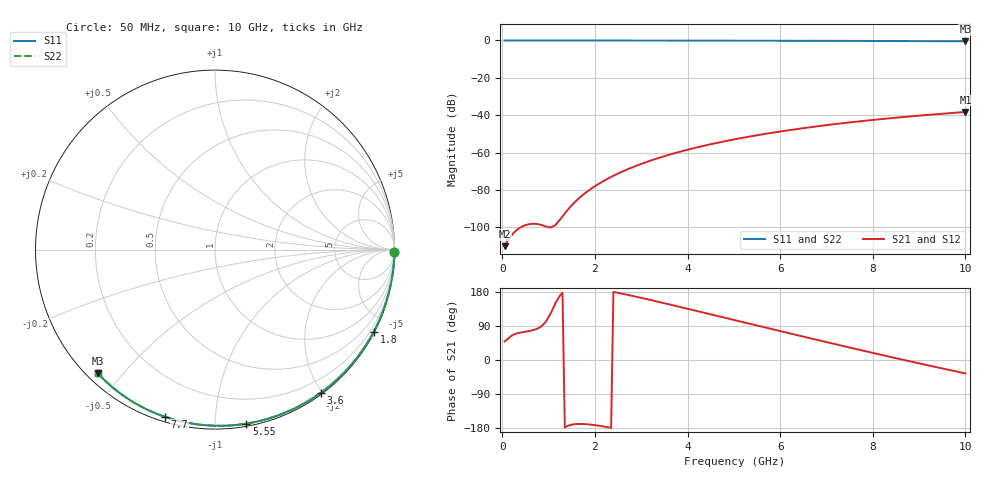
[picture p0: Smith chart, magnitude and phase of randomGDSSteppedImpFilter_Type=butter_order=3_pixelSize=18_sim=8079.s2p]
! freq	dB(S11)	phase(S11)	dB(S12)	phase(S12)
!  dB(S21)	phase(S21)	dB(S22)	phase(S22)
!S-par simulation data
#  GHz  S  DB  R 50
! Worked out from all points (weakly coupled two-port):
!   200 points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, 50 MHz to 10 GHz, reference 50 ohm
!   highest |S21| = -38.31 dB at 10 GHz (marker M1); lowest = -110.2 dB at 50 MHz (marker M2)
!   lowest |S11| = -0.4 dB at 10 GHz (marker M3), VSWR 38.70, Z = 1.53 - j21.5 ohm
!   |S11| at or under -10 dB: nowhere
!   |S22| runs from -0.4 to 0.0 dB; largest |S21 - S12| = 0
!   S11 on the Smith chart (normalised r, x): 50 MHz: open; 1.8 GHz: 0.04, -4.11; 3.6 GHz: 0.02, -1.99; 5.55 GHz: 0.02, -1.20; 7.7 GHz: 0.02, -0.75; 10 GHz: 0.03, -0.43
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0.05  -0.00 -0.8  -110.16 49.2  -110.16 49.2  -0.00 -0.8
0.9  -0.02 -13.8  -99.29 95.6  -99.29 95.6  -0.02 -13.8
1.75  -0.03 -26.6  -82.51 -168.9  -82.51 -168.9  -0.03 -26.6
1.8  -0.03 -27.3  -81.53 -169.3  -81.53 -169.3  -0.03 -27.3
1.85  -0.04 -28.1  -80.60 -169.8  -80.60 -169.8  -0.04 -28.1
1.9  -0.04 -28.8  -79.71 -170.4  -79.71 -170.4  -0.04 -28.8
2.05  -0.04 -31.1  -77.25 -172.8  -77.25 -172.8  -0.04 -31.1
2.25  -0.04 -34.0  -74.37 -176.9  -74.37 -176.9  -0.04 -34.0
2.45  -0.05 -36.9  -71.84 178.5  -71.84 178.5  -0.05 -36.9
2.65  -0.05 -39.9  -69.57 173.4  -69.57 173.4  -0.05 -39.9
3  -0.06 -44.9  -66.11 164.0  -66.11 164.0  -0.06 -44.9
3.4  -0.07 -50.6  -62.73 152.7  -62.73 152.7  -0.07 -50.6
3.6  -0.07 -53.4  -61.23 147.0  -61.23 147.0  -0.07 -53.4
4.3  -0.09 -63.2  -56.70 126.4  -56.70 126.4  -0.09 -63.2
5.05  -0.11 -73.2  -52.78 104.2  -52.78 104.2  -0.11 -73.3
5.55  -0.13 -79.8  -50.55 89.5  -50.55 89.5  -0.13 -79.8
6.1  -0.15 -86.9  -48.39 73.3  -48.39 73.3  -0.15 -86.9
6.7  -0.18 -94.4  -46.30 55.9  -46.30 55.9  -0.18 -94.4
7.7  -0.24 -106.6  -43.34 27.2  -43.34 27.2  -0.24 -106.6
8.35  -0.29 -114.3  -41.71 8.9  -41.71 8.9  -0.29 -114.3
9.15  -0.36 -123.6  -39.94 -13.0  -39.94 -13.0  -0.36 -123.6
10  -0.45 -133.5  -38.31 -35.4  -38.31 -35.4  -0.45 -133.5
